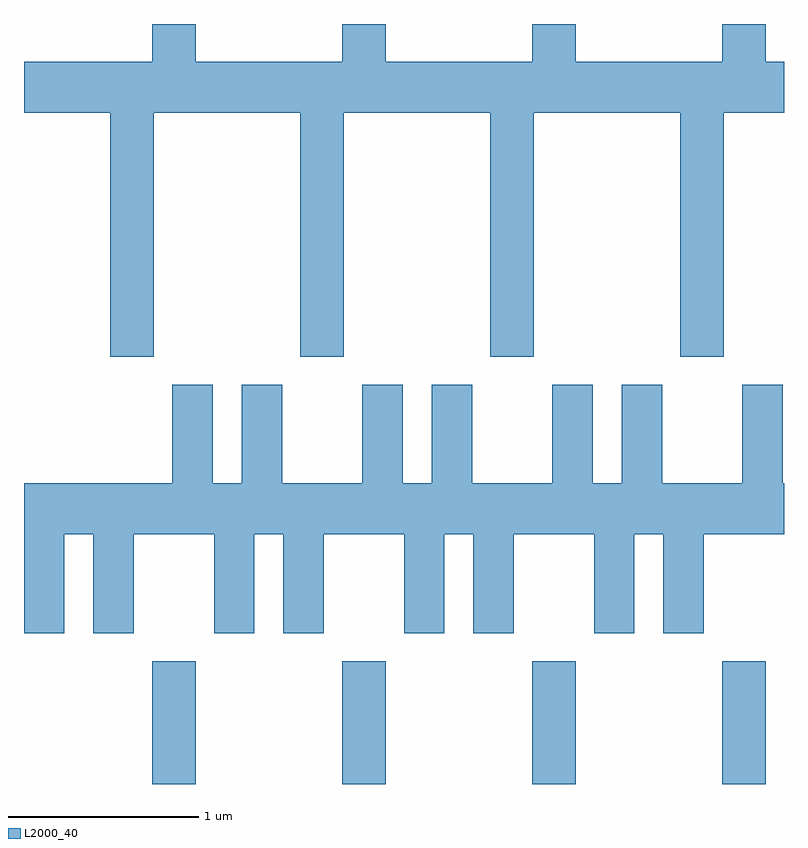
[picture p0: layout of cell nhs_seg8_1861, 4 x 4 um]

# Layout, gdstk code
import gdstk
lib = gdstk.Library(unit=1e-6, precision=1e-09)
def R(c, l, rs):  # rectangles x0, y0, x1, y1
    for r in rs: c.add(gdstk.rectangle(r[:2], r[2:], *l))
def A(c, l, x, y, w, h, nx, ny, dx, dy):  # array of equal rectangles
    R(c, l, [(x+i*dx, y+j*dy, x+i*dx+w, y+j*dy+h) for i in range(nx) for j in range(ny)])
def P(c, l, *ps):  # polygons
    for p in ps: c.add(gdstk.Polygon(p, *l))
L2000_40 = (2000, 40)

nhs_seg8_1861 = lib.new_cell('nhs_seg8_1861')
A(nhs_seg8_1861, L2000_40, 240.286, 1928.342, 0.228, 0.647, 4, 1, 1, 0)
P(nhs_seg8_1861, L2000_40, [(240.294,1931.876),(241.066,1931.876),(241.066,1930.591),(241.294,1930.591),(241.294,1931.876),(242.066,1931.876),(242.066,1930.591),(242.294,1930.591),(242.294,1931.876),(243.066,1931.876),(243.066,1930.591),(243.294,1930.591),(243.294,1931.876),(243.611,1931.876),(243.611,1932.144),(243.514,1932.144),(243.514,1932.342),(243.286,1932.342),(243.286,1932.144),(242.514,1932.144),(242.514,1932.342),(242.286,1932.342),(242.286,1932.144),(241.514,1932.144),(241.514,1932.342),(241.286,1932.342),(241.286,1932.144),(240.514,1932.144),(240.514,1932.342),(240.286,1932.342),(240.286,1932.144),(239.611,1932.144),(239.611,1931.876),(240.066,1931.876),(240.066,1930.591),(240.294,1930.591)],
  [(241.611,1929.136),(241.824,1929.136),(241.824,1929.656),(241.976,1929.656),(241.976,1929.136),(242.189,1929.136),(242.189,1929.656),(242.611,1929.656),(242.611,1929.136),(242.824,1929.136),(242.824,1929.656),(242.976,1929.656),(242.976,1929.136),(243.189,1929.136),(243.189,1929.656),(243.611,1929.656),(243.611,1929.924),(243.604,1929.924),(243.604,1930.444),(243.391,1930.444),(243.391,1929.924),(242.969,1929.924),(242.969,1930.444),(242.756,1930.444),(242.756,1929.924),(242.604,1929.924),(242.604,1930.444),(242.391,1930.444),(242.391,1929.924),(241.969,1929.924),(241.969,1930.444),(241.756,1930.444),(241.756,1929.924),(241.604,1929.924),(241.604,1930.444),(241.391,1930.444),(241.391,1929.924),(240.969,1929.924),(240.969,1930.444),(240.756,1930.444),(240.756,1929.924),(240.604,1929.924),(240.604,1930.444),(240.391,1930.444),(240.391,1929.924),(239.611,1929.924),(239.611,1929.136),(239.824,1929.136),(239.824,1929.656),(239.976,1929.656),(239.976,1929.136),(240.189,1929.136),(240.189,1929.656),(240.611,1929.656),(240.611,1929.136),(240.824,1929.136),(240.824,1929.656),(240.976,1929.656),(240.976,1929.136),(241.189,1929.136),(241.189,1929.656),(241.611,1929.656)])

lib.write_gds('nhs_seg8_1861.gds')
